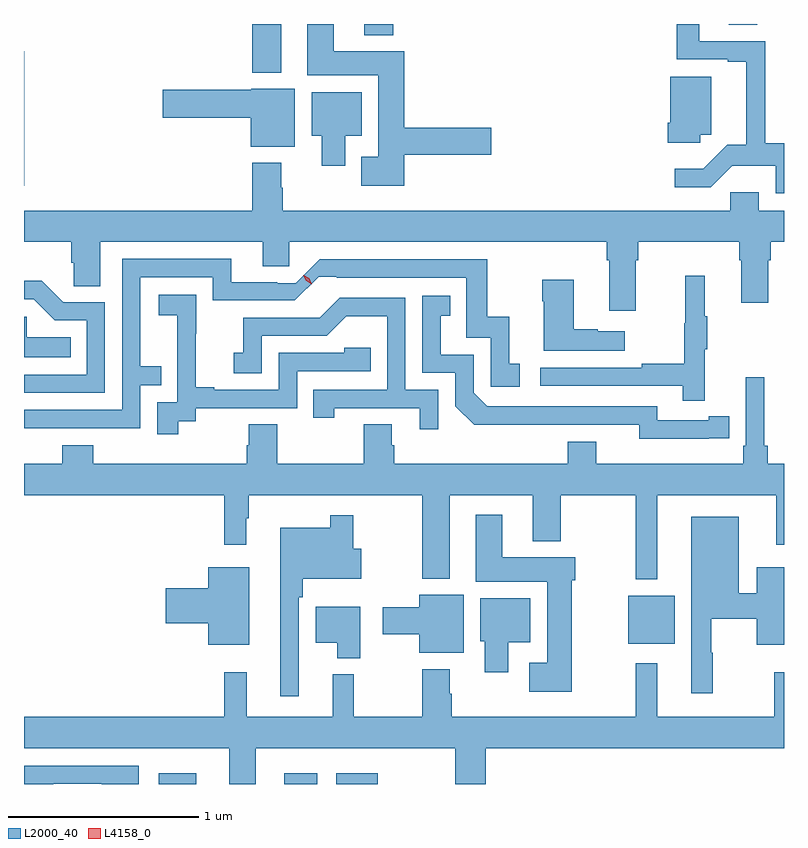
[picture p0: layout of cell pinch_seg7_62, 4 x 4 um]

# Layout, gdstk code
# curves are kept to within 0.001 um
import gdstk
lib = gdstk.Library(unit=1e-6, precision=1e-09)
def R(c, l, rs):  # rectangles x0, y0, x1, y1
    for r in rs: c.add(gdstk.rectangle(r[:2], r[2:], *l))
def P(c, l, *ps):  # polygons
    for p in ps: c.add(gdstk.Polygon(p, *l))
L2000_40 = (2000, 40)
L4158_0 = (4158, 0)

pinch_seg7_62 = lib.new_cell('pinch_seg7_62')
R(pinch_seg7_62, L2000_40, [(972.065,1064.363,972.262,1064.419), (972.726,1064.363,972.898,1064.419), (972.998,1064.363,973.216,1064.419), (974.534,1065.101,974.779,1065.355), (971.355,1067.513,971.357,1068.22), (972.557,1068.107,972.709,1068.363), (973.145,1068.305,973.298,1068.363), (975.065,1068.358,975.213,1068.363)])
P(pinch_seg7_62, L2000_40, [(975.355,1067.735),(975.257,1067.735),(975.257,1068.273),(974.908,1068.273),(974.908,1068.363),(974.791,1068.363),(974.791,1068.177),(975.059,1068.177),(975.059,1068.165),(975.155,1068.165),(975.155,1067.728),(975.055,1067.728),(974.929,1067.602),(974.781,1067.602),(974.781,1067.505),(974.97,1067.505),(975.083,1067.618),(975.312,1067.618),(975.312,1067.472),(975.355,1067.472)],
  [(973.355,1067.674),(973.813,1067.674),(973.813,1067.816),(973.355,1067.816),(973.355,1068.22),(972.985,1068.22),(972.985,1068.363),(972.845,1068.363),(972.845,1068.092),(973.22,1068.092),(973.22,1067.665),(973.13,1067.665),(973.13,1067.513),(973.355,1067.513)],
  [(974.913,1067.78),(974.971,1067.78),(974.971,1068.085),(974.756,1068.085),(974.756,1067.842),(974.744,1067.842),(974.744,1067.739),(974.913,1067.739)],
  [(972.781,1068.022),(972.552,1068.022),(972.552,1068.017),(972.084,1068.017),(972.084,1067.87),(972.548,1067.87),(972.548,1067.717),(972.781,1067.717)],
  [(973.045,1067.774),(973.132,1067.774),(973.132,1068.004),(972.869,1068.004),(972.869,1067.774),(972.923,1067.774),(972.923,1067.616),(973.045,1067.616)],
  [(974.575,1067.12),(974.588,1067.12),(974.588,1067.216),(975.119,1067.216),(975.119,1067.12),(975.131,1067.12),(975.131,1066.896),(975.271,1066.896),(975.271,1067.12),(975.284,1067.12),(975.284,1067.216),(975.355,1067.216),(975.355,1067.38),(975.223,1067.38),(975.223,1067.478),(975.072,1067.478),(975.072,1067.38),(972.717,1067.38),(972.717,1067.501),(972.709,1067.501),(972.709,1067.632),(972.557,1067.632),(972.557,1067.38),(971.355,1067.38),(971.355,1067.216),(971.603,1067.216),(971.603,1067.107),(971.616,1067.107),(971.616,1066.984),(971.755,1066.984),(971.755,1067.216),(972.611,1067.216),(972.611,1067.089),(972.75,1067.089),(972.75,1067.216),(974.423,1067.216),(974.423,1067.12),(974.435,1067.12),(974.435,1066.854),(974.575,1066.854)],
  [(971.471,1066.236),(971.967,1066.236),(971.967,1066.461),(972.077,1066.461),(972.077,1066.562),(971.967,1066.562),(971.967,1067.031),(972.348,1067.031),(972.348,1066.908),(972.779,1066.908),(972.905,1067.034),(973.002,1067.034),(973.002,1067.028),(973.683,1067.028),(973.683,1066.713),(973.812,1066.713),(973.812,1066.455),(973.963,1066.455),(973.963,1066.575),(973.91,1066.575),(973.91,1066.822),(973.792,1066.822),(973.792,1067.124),(972.912,1067.124),(972.786,1066.998),(972.689,1066.998),(972.689,1067.004),(972.445,1067.004),(972.445,1067.127),(971.871,1067.127),(971.871,1066.332),(971.355,1066.332),(971.355,1066.235)],
  [(974.939,1066.651),(974.95,1066.651),(974.95,1066.825),(974.939,1066.825),(974.939,1067.038),(974.836,1067.038),(974.836,1066.788),(974.829,1066.788),(974.829,1066.574),(974.605,1066.574),(974.605,1066.554),(974.073,1066.554),(974.073,1066.458),(974.821,1066.458),(974.821,1066.38),(974.939,1066.38)],
  [(974.518,1066.747),(974.375,1066.747),(974.375,1066.757),(974.248,1066.757),(974.248,1067.017),(974.083,1067.017),(974.083,1066.904),(974.09,1066.904),(974.09,1066.643),(974.518,1066.643)],
  [(971.781,1066.899),(971.562,1066.899),(971.449,1067.012),(971.355,1067.012),(971.355,1066.914),(971.405,1066.914),(971.516,1066.803),(971.685,1066.803),(971.685,1066.518),(971.355,1066.518),(971.355,1066.422),(971.781,1066.422)],
  [(972.166,1066.273),(972.258,1066.273),(972.258,1066.341),(972.792,1066.341),(972.792,1066.536),(973.181,1066.536),(973.181,1066.659),(973.041,1066.659),(973.041,1066.632),(972.696,1066.632),(972.696,1066.437),(972.355,1066.437),(972.355,1066.45),(972.26,1066.45),(972.26,1066.733),(972.261,1066.733),(972.261,1066.939),(972.063,1066.939),(972.063,1066.829),(972.161,1066.829),(972.161,1066.601),(972.162,1066.601),(972.162,1066.371),(972.057,1066.371),(972.057,1066.203),(972.166,1066.203)],
  [(974.96,1066.182),(975.068,1066.182),(975.068,1066.298),(974.96,1066.298),(974.96,1066.278),(974.688,1066.278),(974.688,1066.35),(973.794,1066.35),(973.722,1066.422),(973.722,1066.623),(973.549,1066.623),(973.549,1066.827),(973.598,1066.827),(973.598,1066.933),(973.452,1066.933),(973.452,1066.527),(973.626,1066.527),(973.626,1066.35),(973.724,1066.253),(974.592,1066.254),(974.592,1066.181)],
  [(973.536,1066.437),(973.362,1066.437),(973.362,1066.923),(973.017,1066.923),(972.912,1066.818),(972.508,1066.818),(972.508,1066.633),(972.459,1066.633),(972.459,1066.524),(972.606,1066.524),(972.606,1066.722),(972.948,1066.722),(973.052,1066.826),(973.266,1066.826),(973.266,1066.437),(972.877,1066.437),(972.877,1066.29),(972.988,1066.29),(972.988,1066.341),(973.439,1066.341),(973.439,1066.23),(973.536,1066.23)],
  [(971.6,1066.714),(971.37,1066.714),(971.37,1066.822),(971.355,1066.822),(971.355,1066.61),(971.6,1066.61)],
  [(974.689,1065.884),(975.314,1065.884),(975.314,1065.621),(975.355,1065.621),(975.355,1066.048),(975.269,1066.048),(975.269,1066.144),(975.25,1066.144),(975.25,1066.504),(975.153,1066.504),(975.153,1066.144),(975.14,1066.144),(975.14,1066.048),(974.368,1066.048),(974.368,1066.165),(974.216,1066.165),(974.216,1066.048),(973.304,1066.048),(973.304,1066.146),(973.291,1066.146),(973.291,1066.256),(973.144,1066.256),(973.144,1066.048),(972.687,1066.048),(972.687,1066.256),(972.539,1066.256),(972.539,1066.146),(972.527,1066.146),(972.527,1066.048),(971.72,1066.048),(971.72,1066.147),(971.555,1066.147),(971.555,1066.048),(971.355,1066.048),(971.355,1065.884),(972.409,1065.884),(972.409,1065.621),(972.526,1065.621),(972.526,1065.761),(972.538,1065.761),(972.538,1065.884),(973.45,1065.884),(973.45,1065.443),(973.597,1065.443),(973.597,1065.884),(974.033,1065.884),(974.033,1065.641),(974.181,1065.641),(974.181,1065.884),(974.575,1065.884),(974.575,1065.44),(974.689,1065.44)],
  [(974.238,1065.435),(974.256,1065.435),(974.256,1065.556),(973.873,1065.556),(973.873,1065.781),(973.733,1065.781),(973.733,1065.428),(974.108,1065.428),(974.108,1065.001),(974.013,1065.001),(974.013,1064.849),(974.238,1064.849)],
  [(972.801,1065.347),(972.821,1065.347),(972.821,1065.443),(973.129,1065.443),(973.129,1065.601),(973.087,1065.601),(973.087,1065.778),(972.966,1065.778),(972.966,1065.712),(972.704,1065.712),(972.704,1064.826),(972.801,1064.826)],
  [(974.981,1065.054),(974.971,1065.054),(974.971,1065.232),(975.212,1065.232),(975.212,1065.095),(975.355,1065.095),(975.355,1065.505),(975.212,1065.505),(975.212,1065.368),(975.118,1065.368),(975.118,1065.769),(974.867,1065.769),(974.867,1064.841),(974.981,1064.841)],
  [(972.541,1065.505),(972.326,1065.505),(972.326,1065.392),(972.102,1065.392),(972.102,1065.209),(972.326,1065.209),(972.326,1065.095),(972.541,1065.095)],
  [(973.669,1065.358),(973.436,1065.358),(973.436,1065.293),(973.242,1065.293),(973.242,1065.151),(973.436,1065.151),(973.436,1065.053),(973.669,1065.053)],
  [(973.903,1065.11),(974.02,1065.11),(974.02,1065.34),(973.757,1065.34),(973.757,1065.114),(973.781,1065.114),(973.781,1064.952),(973.903,1064.952)],
  [(973.126,1065.295),(972.89,1065.295),(972.89,1065.107),(973.004,1065.107),(973.004,1065.026),(973.126,1065.026)],
  [(972.574,1064.552),(973.624,1064.552),(973.624,1064.363),(973.784,1064.363),(973.784,1064.552),(975.355,1064.552),(975.355,1064.95),(975.303,1064.95),(975.303,1064.716),(974.689,1064.716),(974.689,1064.998),(974.575,1064.998),(974.575,1064.716),(973.605,1064.716),(973.605,1064.837),(973.597,1064.837),(973.597,1064.968),(973.45,1064.968),(973.45,1064.716),(973.09,1064.716),(973.09,1064.941),(972.98,1064.941),(972.98,1064.716),(972.527,1064.716),(972.527,1064.95),(972.409,1064.95),(972.409,1064.716),(971.355,1064.716),(971.355,1064.552),(972.434,1064.552),(972.434,1064.363),(972.574,1064.363)],
  [(971.509,1064.364),(971.765,1064.364),(971.765,1064.363),(971.958,1064.363),(971.958,1064.46),(971.355,1064.46),(971.355,1064.363),(971.509,1064.363)])
P(pinch_seg7_62, L4158_0, [(972.869,1066.994),(972.84,1067.011),(972.826,1067.041),(972.826,1067.041),(972.827,1067.041),(972.855,1067.024),(972.869,1066.994),(972.869,1066.994)])

lib.write_gds('pinch_seg7_62.gds')
